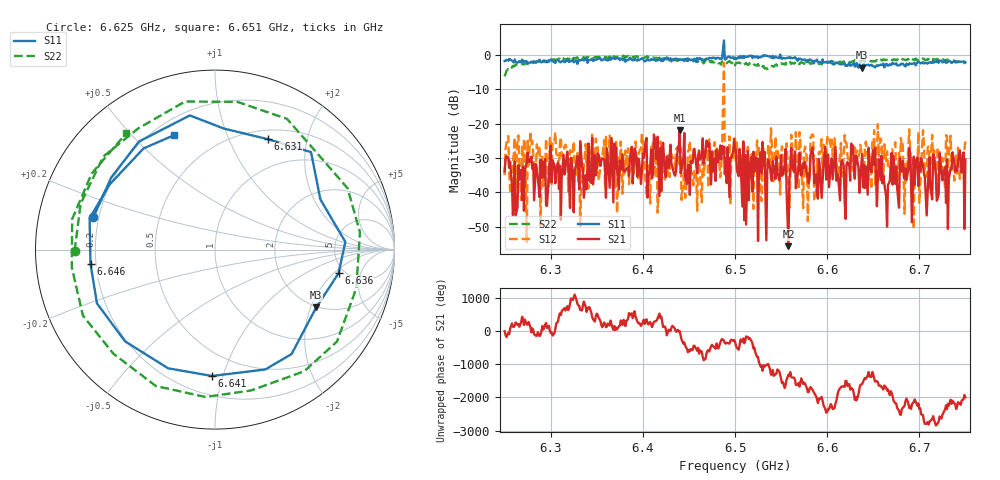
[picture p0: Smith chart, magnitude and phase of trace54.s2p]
# Hz S RI R 50
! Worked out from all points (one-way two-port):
!   401 points, 6.25 GHz to 6.75 GHz, reference 50 ohm
!   highest |S21| = -21.81 dB at 6.44 GHz (marker M1); lowest = -55.6 dB at 6.558 GHz (marker M2)
!   lowest |S11| = -3.7 dB at 6.638 GHz (marker M3), VSWR 4.71, Z = 98.4 - j110 ohm
!   |S11| at or under -10 dB: nowhere
!   |S22| runs from -6.2 to -0.2 dB; largest |S21 - S12| = 0.81
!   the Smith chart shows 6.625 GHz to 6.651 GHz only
!   S11 on the Smith chart (normalised r, x): 6.625 GHz: 0.18, +0.13; 6.631 GHz: 0.61, +1.40; 6.636 GHz: 4.44, -2.31; 6.641 GHz: 0.33, -0.92; 6.646 GHz: 0.18, -0.06; 6.651 GHz: 0.28, +0.66
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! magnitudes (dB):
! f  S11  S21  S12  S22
! 6.25 GHz  -1.8  -33.9  -34.9  -6.2
! 6.261 GHz  -1.3  -30.9  -24.0  -3.2
! 6.276 GHz  -2.3  -31.0  -32.1  -2.2
! 6.291 GHz  -2.1  -30.9  -29.6  -2.1
! 6.305 GHz  -2.3  -37.4  -22.4  -1.5
! 6.334 GHz  -1.4  -32.3  -31.3  -0.9
! 6.418 GHz  -1.3  -41.0  -34.8  -0.8
! 6.44 GHz  -1.4  -21.8  -32.6  -1.3
! 6.5 GHz  -0.8  -27.0  -24.2  -3.0
! 6.51 GHz  -0.9  -48.0  -26.7  -2.7
! 6.53 GHz  -0.2  -25.3  -28.5  -3.3
! 6.558 GHz  -0.8  -55.6  -36.3  -2.9
! 6.584 GHz  -1.8  -26.8  -23.1  -2.3
! 6.625 GHz  -3.1  -36.5  -31.4  -2.1
! 6.631 GHz  -3.3  -29.4  -29.5  -1.6
! 6.636 GHz  -3.1  -35.6  -26.1  -1.8
! 6.638 GHz  -3.7  -28.8  -29.6  -1.8
! 6.641 GHz  -3.0  -38.7  -26.4  -1.8
! 6.646 GHz  -3.1  -32.4  -29.4  -1.7
! 6.651 GHz  -3.4  -32.0  -21.9  -1.8
! 6.668 GHz  -2.7  -36.7  -32.4  -1.4
! 6.75 GHz  -2.2  -30.4  -25.0  -2.3
